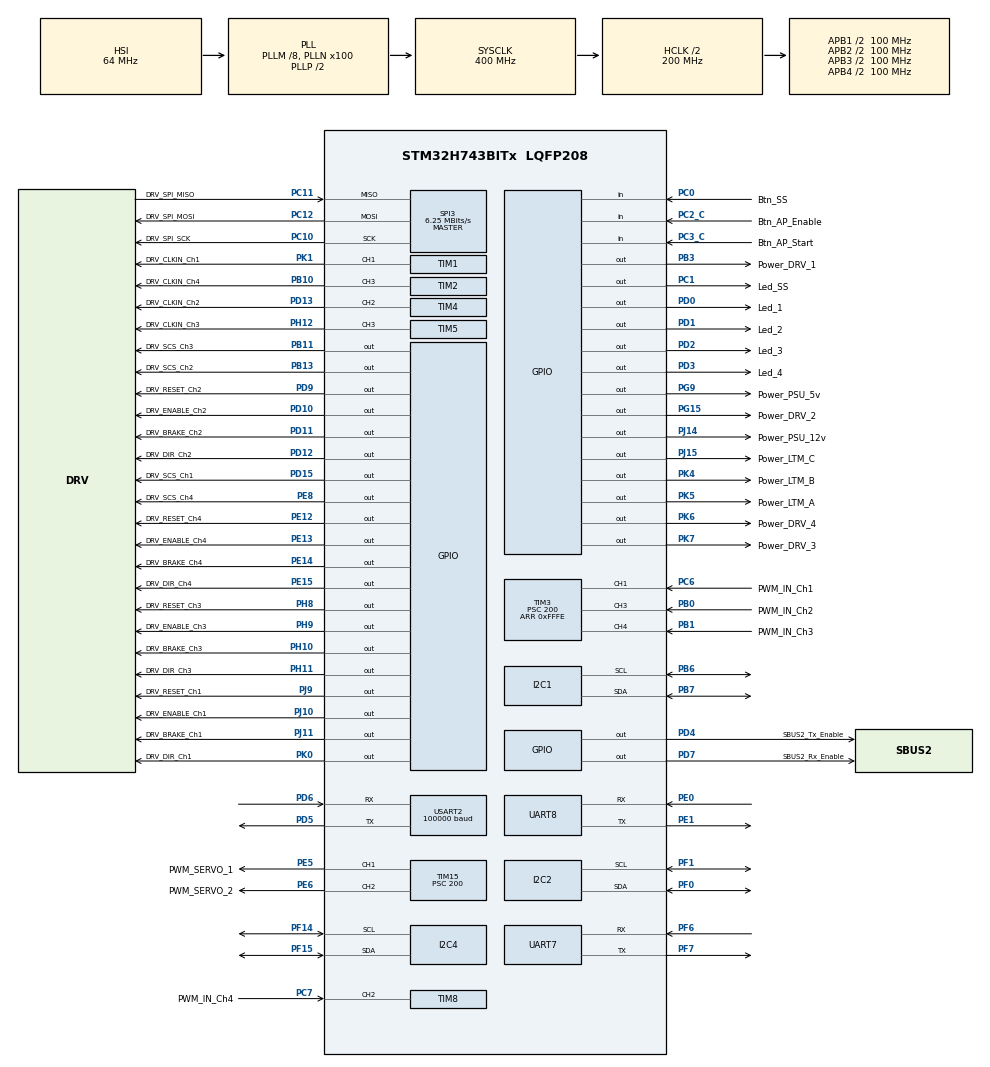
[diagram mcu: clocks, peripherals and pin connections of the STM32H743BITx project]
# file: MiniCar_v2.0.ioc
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FREERTOS.Tasks01=defaultTask,0,128,StartDefaultTask,Default,NULL,Dynamic,NULL,NULL;T1_WheelMove,0,128,StartTask01,As external,NULL,Dynamic,NULL,NULL;T2_Steering,0,128,StartTask02,As external,NULL,Dynamic,NULL,NULL;T3_WheelEncoder,-2,128,StartTask03,As external,NULL,Dynamic,NULL,NULL;T4_WheelTurnEnc,-2,128,StartTask04,As external,NULL,Dynamic,NULL,NULL;T5_PowerSup,0,128,StartTask05,As external,NULL,Dynamic,NULL,NULL;T6_Terminal,-2,128,StartTask06,As external,NULL,Dynamic,NULL,NULL;T7_Logging,-2,128,StartTask07,As external,NULL,Dynamic,NULL,NULL;T8_RemoteCon,2,128,StartTask08,As external,NULL,Dynamic,NULL,NULL;T9_State,2,128,StartTask09,As external,NULL,Dynamic,NULL,NULL;T10_Button,-2,128,StartTask10,As external,NULL,Dynamic,NULL,NULL
I2C1.Timing=0x10C0ECFF
I2C2.Timing=0x10C0ECFF
I2C4.Timing=0x10C0ECFF
Mcu.Family=STM32H7
Mcu.Name=STM32H743BITx
Mcu.Package=LQFP208
NVIC.PriorityGroup=NVIC_PRIORITYGROUP_4
NVIC.TIM17_IRQn=true\:5\:0\:false\:false\:true\:true\:true\:true
NVIC.TIM8_TRG_COM_TIM14_IRQn=true\:5\:0\:false\:false\:true\:true\:true\:true
NVIC.TIM8_UP_TIM13_IRQn=true\:0\:0\:false\:false\:true\:false\:false\:true
NVIC.TimeBase=TIM8_UP_TIM13_IRQn
NVIC.TimeBaseIP=TIM13
NVIC.UART7_IRQn=true\:5\:0\:false\:false\:true\:true\:true\:true
NVIC.UART8_IRQn=true\:5\:0\:false\:false\:true\:true\:true\:true
NVIC.USART2_IRQn=true\:5\:0\:false\:false\:true\:true\:true\:true
PA13\ (JTMS/SWDIO).Mode=Serial_Wire
PA13\ (JTMS/SWDIO).Signal=SYS_JTMS-SWDIO
PA14\ (JTCK/SWCLK).Mode=Serial_Wire
PA14\ (JTCK/SWCLK).Signal=SYS_JTCK-SWCLK
PB0.GPIO_Label=PWM_IN_Ch2
PB0.Signal=S_TIM3_CH3
PB1.GPIO_Label=PWM_IN_Ch3
PB1.Signal=S_TIM3_CH4
PB10.GPIO_Label=DRV_CLKIN_Ch4
PB10.Signal=S_TIM2_CH3
PB11.GPIO_Label=DRV_SCS_Ch3
PB11.Signal=GPIO_Output
PB13.GPIO_Label=DRV_SCS_Ch2
PB13.Signal=GPIO_Output
PB3\ (JTDO/TRACESWO).GPIO_Label=Power_DRV_1
PB3\ (JTDO/TRACESWO).Signal=GPIO_Output
PB6.Mode=I2C
PB6.Signal=I2C1_SCL
PB7.Mode=I2C
PB7.Signal=I2C1_SDA
PC0.GPIO_Label=Btn_SS
PC0.Signal=GPIO_Input
PC1.GPIO_Label=Led_SS
PC1.Signal=GPIO_Output
PC10.GPIO_Label=DRV_SPI_SCK
PC10.Mode=Full_Duplex_Master
PC10.Signal=SPI3_SCK
PC11.GPIO_Label=DRV_SPI_MISO
PC11.Mode=Full_Duplex_Master
PC11.Signal=SPI3_MISO
PC12.GPIO_Label=DRV_SPI_MOSI
PC12.Mode=Full_Duplex_Master
PC12.Signal=SPI3_MOSI
PC2_C.GPIO_Label=Btn_AP_Enable
PC2_C.Signal=GPIO_Input
PC3_C.GPIO_Label=Btn_AP_Start
PC3_C.Signal=GPIO_Input
PC6.GPIO_Label=PWM_IN_Ch1
PC6.Signal=S_TIM3_CH1
PC7.GPIO_Label=PWM_IN_Ch4
PC7.Signal=S_TIM8_CH2
PD0.GPIO_Label=Led_1
PD0.Signal=GPIO_Output
PD1.GPIO_Label=Led_2
PD1.Signal=GPIO_Output
PD10.GPIO_Label=DRV_ENABLE_Ch2
PD10.Signal=GPIO_Output
PD11.GPIO_Label=DRV_BRAKE_Ch2
PD11.Signal=GPIO_Output
PD12.GPIO_Label=DRV_DIR_Ch2
PD12.Signal=GPIO_Output
PD13.GPIO_Label=DRV_CLKIN_Ch2
PD13.Signal=S_TIM4_CH2
PD15.GPIO_Label=DRV_SCS_Ch1
PD15.Signal=GPIO_Output
PD2.GPIO_Label=Led_3
PD2.Signal=GPIO_Output
PD3.GPIO_Label=Led_4
PD3.Signal=GPIO_Output
PD4.GPIO_Label=SBUS2_Tx_Enable
PD4.Signal=GPIO_Output
PD5.Mode=Asynchronous
PD5.Signal=USART2_TX
PD6.Mode=Asynchronous
PD6.Signal=USART2_RX
PD7.GPIO_Label=SBUS2_Rx_Enable
PD7.Signal=GPIO_Output
PD9.GPIO_Label=DRV_RESET_Ch2
PD9.Signal=GPIO_Output
PE0.Mode=Asynchronous
PE0.Signal=UART8_RX
PE1.Mode=Asynchronous
PE1.Signal=UART8_TX
PE12.GPIO_Label=DRV_RESET_Ch4
PE12.Signal=GPIO_Output
PE13.GPIO_Label=DRV_ENABLE_Ch4
PE13.Signal=GPIO_Output
PE14.GPIO_Label=DRV_BRAKE_Ch4
PE14.Signal=GPIO_Output
PE15.GPIO_Label=DRV_DIR_Ch4
PE15.Signal=GPIO_Output
PE5.GPIO_Label=PWM_SERVO_1
PE5.Signal=S_TIM15_CH1
PE6.GPIO_Label=PWM_SERVO_2
PE6.Signal=S_TIM15_CH2
PE8.GPIO_Label=DRV_SCS_Ch4
PE8.Signal=GPIO_Output
PF0.Mode=I2C
PF0.Signal=I2C2_SDA
PF1.Mode=I2C
PF1.Signal=I2C2_SCL
PF14.Mode=I2C
PF14.Signal=I2C4_SCL
PF15.Mode=I2C
PF15.Signal=I2C4_SDA
PF6.Mode=Asynchronous
PF6.Signal=UART7_RX
PF7.Mode=Asynchronous
PF7.Signal=UART7_TX
PG15.GPIO_Label=Power_DRV_2
PG15.Signal=GPIO_Output
PG9.GPIO_Label=Power_PSU_5v
PG9.Signal=GPIO_Output
PH10.GPIO_Label=DRV_BRAKE_Ch3
PH10.Signal=GPIO_Output
PH11.GPIO_Label=DRV_DIR_Ch3
PH11.Signal=GPIO_Output
PH12.GPIO_Label=DRV_CLKIN_Ch3
PH12.Signal=S_TIM5_CH3
PH8.GPIO_Label=DRV_RESET_Ch3
PH8.Signal=GPIO_Output
PH9.GPIO_Label=DRV_ENABLE_Ch3
PH9.Signal=GPIO_Output
PJ10.GPIO_Label=DRV_ENABLE_Ch1
PJ10.Signal=GPIO_Output
PJ11.GPIO_Label=DRV_BRAKE_Ch1
PJ11.Signal=GPIO_Output
PJ14.GPIO_Label=Power_PSU_12v
PJ14.Signal=GPIO_Output
PJ15.GPIO_Label=Power_LTM_C
PJ15.Signal=GPIO_Output
PJ9.GPIO_Label=DRV_RESET_Ch1
PJ9.Signal=GPIO_Output
PK0.GPIO_Label=DRV_DIR_Ch1
PK0.Signal=GPIO_Output
PK1.GPIO_Label=DRV_CLKIN_Ch1
PK1.Signal=S_TIM1_CH1
PK4.GPIO_Label=Power_LTM_B
PK4.Signal=GPIO_Output
PK5.GPIO_Label=Power_LTM_A
PK5.Signal=GPIO_Output
PK6.GPIO_Label=Power_DRV_4
PK6.Signal=GPIO_Output
PK7.GPIO_Label=Power_DRV_3
PK7.Signal=GPIO_Output
ProjectManager.HeapSize=0x200
ProjectManager.StackSize=0x400
ProjectManager.TargetToolchain=MDK-ARM V5
RCC.ADCFreq_Value=129000000
RCC.APB1Freq_Value=100000000
RCC.APB2Freq_Value=100000000
RCC.APB3Freq_Value=100000000
RCC.APB4Freq_Value=100000000
RCC.CortexFreq_Value=400000000
RCC.D1PPRE=RCC_APB3_DIV2
RCC.D2PPRE1=RCC_APB1_DIV2
RCC.D2PPRE2=RCC_APB2_DIV2
RCC.D3PPRE=RCC_APB4_DIV2
RCC.DIVM1=8
RCC.DIVN1=100
RCC.HCLKFreq_Value=200000000
RCC.HPRE=RCC_HCLK_DIV2
RCC.SYSCLKFreq_VALUE=400000000
RCC.SYSCLKSource=RCC_SYSCLKSOURCE_PLLCLK
RCC.USBFreq_Value=400000000
SH.S_TIM15_CH1.0=TIM15_CH1,PWM Generation1 CH1
SH.S_TIM15_CH2.0=TIM15_CH2,PWM Generation2 CH2
SH.S_TIM1_CH1.0=TIM1_CH1,PWM Generation1 CH1
SH.S_TIM2_CH3.0=TIM2_CH3,PWM Generation3 CH3
SH.S_TIM3_CH1.0=TIM3_CH1,TriggerSource_TI1FP1
SH.S_TIM3_CH1.1=TIM3_CH1,Input_Capture1_from_TI1
SH.S_TIM3_CH1.2=TIM3_CH1,Input_Capture2_from_TI1
SH.S_TIM3_CH3.0=TIM3_CH3,Input_Capture3_from_TI3
SH.S_TIM3_CH4.0=TIM3_CH4,Input_Capture4_from_TI4
SH.S_TIM4_CH2.0=TIM4_CH2,PWM Generation2 CH2
SH.S_TIM5_CH3.0=TIM5_CH3,PWM Generation3 CH3
SH.S_TIM8_CH2.0=TIM8_CH2,TriggerSource_TI2FP2
SH.S_TIM8_CH2.1=TIM8_CH2,Input_Capture2_from_TI2
SH.S_TIM8_CH2.2=TIM8_CH2,Input_Capture1_from_TI2
SPI3.BaudRatePrescaler=SPI_BAUDRATEPRESCALER_64
SPI3.CalculateBaudRate=6.25 MBits/s
SPI3.DataSize=SPI_DATASIZE_24BIT
SPI3.Direction=SPI_DIRECTION_2LINES
SPI3.Mode=SPI_MODE_MASTER
SPI3.VirtualType=VM_MASTER
TIM1.Channel-PWM\ Generation1\ CH1=TIM_CHANNEL_1
TIM1.Period=100
TIM1.Prescaler=50
TIM1.Pulse-PWM\ Generation1\ CH1=10
TIM12.Period=0xFFFE
TIM12.Prescaler=49999
TIM14.Period=2599
TIM14.Prescaler=199
TIM15.Channel-PWM\ Generation1\ CH1=TIM_CHANNEL_1
TIM15.Channel-PWM\ Generation2\ CH2=TIM_CHANNEL_2
TIM15.Period=19999
TIM15.Prescaler=200
TIM15.Pulse-PWM\ Generation1\ CH1=1640
TIM15.Pulse-PWM\ Generation2\ CH2=1480
TIM16.Period=0xFFFE
TIM16.Prescaler=49999
TIM17.Period=9999
TIM17.Prescaler=1999
TIM2.Channel-PWM\ Generation3\ CH3=TIM_CHANNEL_3
TIM2.Period=100
TIM2.Prescaler=50
TIM2.Pulse-PWM\ Generation3\ CH3=10
TIM3.Channel-Input_Capture1_from_TI1=TIM_CHANNEL_1
TIM3.Channel-Input_Capture2_from_TI1=TIM_CHANNEL_2
TIM3.Channel-Input_Capture3_from_TI3=TIM_CHANNEL_3
TIM3.Channel-Input_Capture4_from_TI4=TIM_CHANNEL_4
TIM3.ICPolarity_CH2=TIM_INPUTCHANNELPOLARITY_FALLING
TIM3.ICPolarity_CH3=TIM_INPUTCHANNELPOLARITY_FALLING
TIM3.ICPolarity_CH4=TIM_INPUTCHANNELPOLARITY_FALLING
TIM3.Period=0xFFFE
TIM3.Prescaler=200
TIM4.Channel-PWM\ Generation2\ CH2=TIM_CHANNEL_2
TIM4.Period=10
TIM4.Prescaler=50
TIM4.Pulse-PWM\ Generation2\ CH2=10
TIM5.Channel-PWM\ Generation3\ CH3=TIM_CHANNEL_3
TIM5.Period=100
TIM5.Prescaler=50
TIM5.Pulse-PWM\ Generation3\ CH3=10
TIM6.Period=0xFFFE
TIM6.Prescaler=4999
TIM8.Channel-Input_Capture1_from_TI2=TIM_CHANNEL_1
TIM8.Channel-Input_Capture2_from_TI2=TIM_CHANNEL_2
TIM8.ICPolarity_CH1=TIM_INPUTCHANNELPOLARITY_FALLING
TIM8.Period=0xFFFE
TIM8.Prescaler=200
USART2.BaudRate=100000
USART2.Parity=PARITY_EVEN
USART2.StopBits=STOPBITS_2
USART2.VirtualMode-Asynchronous=VM_ASYNC
USART2.WordLength=WORDLENGTH_9B
VP_FREERTOS_VS_CMSIS_V1.Mode=CMSIS_V1
VP_SYS_VS_tim13.Mode=TIM13
VP_TIM12_VS_ClockSourceINT.Mode=Internal
VP_TIM14_VS_ClockSourceINT.Mode=Enable_Timer
VP_TIM15_VS_ClockSourceINT.Mode=Internal
VP_TIM16_VS_ClockSourceINT.Mode=Enable_Timer
VP_TIM17_VS_ClockSourceINT.Mode=Enable_Timer
VP_TIM1_VS_ClockSourceINT.Mode=Internal
VP_TIM3_VS_ClockSourceINT.Mode=Internal
VP_TIM3_VS_ControllerModeReset.Mode=Reset Mode
VP_TIM4_VS_ClockSourceINT.Mode=Internal
VP_TIM5_VS_ClockSourceINT.Mode=Internal
VP_TIM6_VS_ClockSourceINT.Mode=Enable_Timer
VP_TIM8_VS_ClockSourceINT.Mode=Internal
VP_TIM8_VS_ControllerModeReset.Mode=Reset Mode
board=custom

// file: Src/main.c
/* USER CODE BEGIN Header */
/**
  ******************************************************************************
  * @file           : main.c
  * @brief          : Main program body
  ******************************************************************************
  * @attention
  *
  * <h2><center>&copy; Copyright (c) 2021 STMicroelectronics.
  * All rights reserved.</center></h2>
  *
  * This software component is licensed by ST under BSD 3-Clause license,
  * the "License"; You may not use this file except in compliance with the
  * License. You may obtain a copy of the License at:
  *                        opensource.org/licenses/BSD-3-Clause
  *
  ******************************************************************************
  */
/* USER CODE END Header */

#include "main.h"
#include "cmsis_os.h"

/* USER CODE BEGIN Includes */
#include "task_os.h"
#include "system_func.h"
/* USER CODE END Includes */

I2C_HandleTypeDef hi2c1;
I2C_HandleTypeDef hi2c2;
I2C_HandleTypeDef hi2c4;

SPI_HandleTypeDef hspi3;

TIM_HandleTypeDef htim1;
TIM_HandleTypeDef htim2;
TIM_HandleTypeDef htim3;
TIM_HandleTypeDef htim4;
TIM_HandleTypeDef htim5;
TIM_HandleTypeDef htim6;
TIM_HandleTypeDef htim8;
TIM_HandleTypeDef htim12;
TIM_HandleTypeDef htim14;
TIM_HandleTypeDef htim15;
TIM_HandleTypeDef htim16;
TIM_HandleTypeDef htim17;

UART_HandleTypeDef huart7;
UART_HandleTypeDef huart8;
UART_HandleTypeDef huart2;

osThreadId defaultTaskHandle;
osThreadId T1_WheelMoveHandle;
osThreadId T2_SteeringHandle;
osThreadId T3_WheelEncoderHandle;
osThreadId T4_WheelTurnEncHandle;
osThreadId T5_PowerSupHandle;
osThreadId T6_TerminalHandle;
osThreadId T7_LoggingHandle;
osThreadId T8_RemoteConHandle;
osThreadId T9_StateHandle;
osThreadId T10_ButtonHandle;

void SystemClock_Config(void);
static void MX_GPIO_Init(void);
static void MX_TIM2_Init(void);
static void MX_TIM4_Init(void);
static void MX_TIM5_Init(void);
static void MX_TIM6_Init(void);
static void MX_TIM12_Init(void);
static void MX_TIM15_Init(void);
static void MX_TIM16_Init(void);
static void MX_TIM17_Init(void);
static void MX_I2C1_Init(void);
static void MX_I2C2_Init(void);
static void MX_I2C4_Init(void);
static void MX_SPI3_Init(void);
static void MX_TIM1_Init(void);
static void MX_TIM3_Init(void);
static void MX_TIM8_Init(void);
static void MX_UART7_Init(void);
static void MX_UART8_Init(void);
static void MX_USART2_UART_Init(void);
static void MX_TIM14_Init(void);
void StartDefaultTask(void const * argument);
extern void StartTask01(void const * argument);
extern void StartTask02(void const * argument);
extern void StartTask03(void const * argument);
extern void StartTask04(void const * argument);
extern void StartTask05(void const * argument);
extern void StartTask06(void const * argument);
extern void StartTask07(void const * argument);
extern void StartTask08(void const * argument);
extern void StartTask09(void const * argument);
extern void StartTask10(void const * argument);

int main(void)
{

  /* MCU Configuration--------------------------------------------------------*/

  /* Reset of all peripherals, Initializes the Flash interface and the Systick. */
  HAL_Init();

  /* Configure the system clock */
  SystemClock_Config();

  /* Initialize all configured peripherals */
  MX_GPIO_Init();
  MX_TIM2_Init();
  MX_TIM4_Init();
  MX_TIM5_Init();
  MX_TIM6_Init();
  MX_TIM12_Init();
  MX_TIM15_Init();
  MX_TIM16_Init();
  MX_TIM17_Init();
  MX_I2C1_Init();
  MX_I2C2_Init();
  MX_I2C4_Init();
  MX_SPI3_Init();
  MX_TIM1_Init();
  MX_TIM3_Init();
  MX_TIM8_Init();
  MX_UART7_Init();
  MX_UART8_Init();
  MX_USART2_UART_Init();
  MX_TIM14_Init();
  /* USER CODE BEGIN 2 */
	HAL_GPIO_WritePin(Power_DRV_1_GPIO_Port, Power_DRV_1_Pin, GPIO_PIN_SET); 		//DRV_1
	HAL_GPIO_WritePin(Power_DRV_2_GPIO_Port, Power_DRV_2_Pin, GPIO_PIN_SET); 		//DRV_2
	HAL_GPIO_WritePin(Power_DRV_3_GPIO_Port, Power_DRV_3_Pin, GPIO_PIN_SET); 		//DRV_3
	HAL_GPIO_WritePin(Power_DRV_4_GPIO_Port, Power_DRV_4_Pin, GPIO_PIN_SET); 		//DRV_4
	HAL_GPIO_WritePin(Power_LTM_A_GPIO_Port, Power_LTM_A_Pin , GPIO_PIN_SET); 	//LTM_A
	HAL_GPIO_WritePin(Power_LTM_B_GPIO_Port, Power_LTM_B_Pin , GPIO_PIN_SET); 	//LTM_B
	HAL_GPIO_WritePin(Power_LTM_C_GPIO_Port, Power_LTM_C_Pin, GPIO_PIN_SET); 		//LTM_C
	HAL_GPIO_WritePin(Power_PSU_12v_GPIO_Port, Power_PSU_12v_Pin, GPIO_PIN_SET); 	//PSU_12V
	HAL_GPIO_WritePin(Power_PSU_5v_GPIO_Port, Power_PSU_5v_Pin , GPIO_PIN_SET); 	//PSU_5V

	HAL_GPIO_WritePin(Led_1_GPIO_Port, Led_1_Pin , GPIO_PIN_SET); //LED_1

	HAL_TIM_PWM_Start(&htim1, TIM_CHANNEL_1); //Wheel A
	HAL_TIM_PWM_Start(&htim2, TIM_CHANNEL_3); //Wheel D
	HAL_TIM_IC_Start(&htim3, TIM_CHANNEL_1);
	HAL_TIM_IC_Start(&htim3, TIM_CHANNEL_2);
	HAL_TIM_IC_Start(&htim3, TIM_CHANNEL_3);
	HAL_TIM_IC_Start(&htim3, TIM_CHANNEL_4);
	HAL_TIM_PWM_Start(&htim4, TIM_CHANNEL_2); //Wheel B
	HAL_TIM_PWM_Start(&htim5, TIM_CHANNEL_3); //Wheel C
	HAL_TIM_Base_Start(&htim6);
	HAL_TIM_IC_Start(&htim8, TIM_CHANNEL_1);
	HAL_TIM_IC_Start(&htim8, TIM_CHANNEL_2);
	HAL_TIM_Base_Start(&htim12);
	HAL_TIM_PWM_Start(&htim15, TIM_CHANNEL_1); //Servos

	DRV_Init(1); //Channel A
	DRV_Init(2); //Channel B
	DRV_Init(3); //Channel C
	DRV_Init(4); //Channel D

	INA_Init(INA_INPUT, 		0x433F, 0x5000);
	INA_Init(INA_PSU_3V3, 	0x433F, 0x2800);
	INA_Init(INA_PSU_5V0, 	0x433F, 0x2800);
	INA_Init(INA_PSU_8V4A, 	0x433F, 0x2800);
	INA_Init(INA_PSU_8V4B, 	0x433F, 0x2800);
	INA_Init(INA_PSU_5VB, 	0x433F, 0x2800);
	INA_Init(INA_PSU_12V, 	0x433F, 0x2800);

  /* USER CODE END 2 */

  /* Create the thread(s) */
  /* definition and creation of defaultTask */
  osThreadDef(defaultTask, StartDefaultTask, osPriorityNormal, 0, 128);
  defaultTaskHandle = osThreadCreate(osThread(defaultTask), NULL);

  /* definition and creation of T1_WheelMove */
  osThreadDef(T1_WheelMove, StartTask01, osPriorityNormal, 0, 128);
  T1_WheelMoveHandle = osThreadCreate(osThread(T1_WheelMove), NULL);

  /* definition and creation of T2_Steering */
  osThreadDef(T2_Steering, StartTask02, osPriorityNormal, 0, 128);
  T2_SteeringHandle = osThreadCreate(osThread(T2_Steering), NULL);

  /* definition and creation of T3_WheelEncoder */
  osThreadDef(T3_WheelEncoder, StartTask03, osPriorityLow, 0, 128);
  T3_WheelEncoderHandle = osThreadCreate(osThread(T3_WheelEncoder), NULL);

  /* definition and creation of T4_WheelTurnEnc */
  osThreadDef(T4_WheelTurnEnc, StartTask04, osPriorityLow, 0, 128);
  T4_WheelTurnEncHandle = osThreadCreate(osThread(T4_WheelTurnEnc), NULL);

  /* definition and creation of T5_PowerSup */
  osThreadDef(T5_PowerSup, StartTask05, osPriorityNormal, 0, 128);
  T5_PowerSupHandle = osThreadCreate(osThread(T5_PowerSup), NULL);

  /* definition and creation of T6_Terminal */
  osThreadDef(T6_Terminal, StartTask06, osPriorityLow, 0, 128);
  T6_TerminalHandle = osThreadCreate(osThread(T6_Terminal), NULL);

  /* definition and creation of T7_Logging */
  osThreadDef(T7_Logging, StartTask07, osPriorityLow, 0, 128);
  T7_LoggingHandle = osThreadCreate(osThread(T7_Logging), NULL);

  /* definition and creation of T8_RemoteCon */
  osThreadDef(T8_RemoteCon, StartTask08, osPriorityHigh, 0, 128);
  T8_RemoteConHandle = osThreadCreate(osThread(T8_RemoteCon), NULL);

  /* definition and creation of T9_State */
  osThreadDef(T9_State, StartTask09, osPriorityHigh, 0, 128);
  T9_StateHandle = osThreadCreate(osThread(T9_State), NULL);

  /* definition and creation of T10_Button */
  osThreadDef(T10_Button, StartTask10, osPriorityLow, 0, 128);
  T10_ButtonHandle = osThreadCreate(osThread(T10_Button), NULL);

  /* Start scheduler */
  osKernelStart();

  /* We should never get here as control is now taken by the scheduler */

  /* Infinite loop */
  while (1)
  {

  }
}

void SystemClock_Config(void)
{
  RCC_OscInitTypeDef RCC_OscInitStruct = {0};
  RCC_ClkInitTypeDef RCC_ClkInitStruct = {0};
  RCC_PeriphCLKInitTypeDef PeriphClkInitStruct = {0};

  /** Supply configuration update enable
  */
  MODIFY_REG(PWR->CR3, PWR_CR3_SCUEN, 0);
  /** Configure the main internal regulator output voltage
  */
  __HAL_PWR_VOLTAGESCALING_CONFIG(PWR_REGULATOR_VOLTAGE_SCALE1);

  while ((PWR->D3CR & (PWR_D3CR_VOSRDY)) != PWR_D3CR_VOSRDY)
  {

  }
  /** Initializes the CPU, AHB and APB busses clocks
  */
  RCC_OscInitStruct.OscillatorType = RCC_OSCILLATORTYPE_HSI;
  RCC_OscInitStruct.HSIState = RCC_HSI_DIV1;
  RCC_OscInitStruct.HSICalibrationValue = RCC_HSICALIBRATION_DEFAULT;
  RCC_OscInitStruct.PLL.PLLState = RCC_PLL_ON;
  RCC_OscInitStruct.PLL.PLLSource = RCC_PLLSOURCE_HSI;
  RCC_OscInitStruct.PLL.PLLM = 8;
  RCC_OscInitStruct.PLL.PLLN = 100;
  RCC_OscInitStruct.PLL.PLLP = 2;
  RCC_OscInitStruct.PLL.PLLQ = 2;
  RCC_OscInitStruct.PLL.PLLR = 2;
  RCC_OscInitStruct.PLL.PLLRGE = RCC_PLL1VCIRANGE_3;
  RCC_OscInitStruct.PLL.PLLVCOSEL = RCC_PLL1VCOWIDE;
  RCC_OscInitStruct.PLL.PLLFRACN = 0;
  if (HAL_RCC_OscConfig(&RCC_OscInitStruct) != HAL_OK)
  {
    Error_Handler();
  }
  /** Initializes the CPU, AHB and APB busses clocks
  */
  RCC_ClkInitStruct.ClockType = RCC_CLOCKTYPE_HCLK|RCC_CLOCKTYPE_SYSCLK
                              |RCC_CLOCKTYPE_PCLK1|RCC_CLOCKTYPE_PCLK2
                              |RCC_CLOCKTYPE_D3PCLK1|RCC_CLOCKTYPE_D1PCLK1;
  RCC_ClkInitStruct.SYSCLKSource = RCC_SYSCLKSOURCE_PLLCLK;
  RCC_ClkInitStruct.SYSCLKDivider = RCC_SYSCLK_DIV1;
  RCC_ClkInitStruct.AHBCLKDivider = RCC_HCLK_DIV2;
  RCC_ClkInitStruct.APB3CLKDivider = RCC_APB3_DIV2;
  RCC_ClkInitStruct.APB1CLKDivider = RCC_APB1_DIV2;
  RCC_ClkInitStruct.APB2CLKDivider = RCC_APB2_DIV2;
  RCC_ClkInitStruct.APB4CLKDivider = RCC_APB4_DIV2;

  if (HAL_RCC_ClockConfig(&RCC_ClkInitStruct, FLASH_LATENCY_2) != HAL_OK)
  {
    Error_Handler();
  }
  PeriphClkInitStruct.PeriphClockSelection = RCC_PERIPHCLK_USART2|RCC_PERIPHCLK_UART7
                              |RCC_PERIPHCLK_UART8|RCC_PERIPHCLK_SPI3
                              |RCC_PERIPHCLK_I2C2|RCC_PERIPHCLK_I2C1
                              |RCC_PERIPHCLK_I2C4;
  PeriphClkInitStruct.Spi123ClockSelection = RCC_SPI123CLKSOURCE_PLL;
  PeriphClkInitStruct.Usart234578ClockSelection = RCC_USART234578CLKSOURCE_D2PCLK1;
  PeriphClkInitStruct.I2c123ClockSelection = RCC_I2C123CLKSOURCE_D2PCLK1;
  PeriphClkInitStruct.I2c4ClockSelection = RCC_I2C4CLKSOURCE_D3PCLK1;
  if (HAL_RCCEx_PeriphCLKConfig(&PeriphClkInitStruct) != HAL_OK)
  {
    Error_Handler();
  }
}

static void MX_I2C1_Init(void)
{

  hi2c1.Instance = I2C1;
  hi2c1.Init.Timing = 0x10C0ECFF;
  hi2c1.Init.OwnAddress1 = 0;
  hi2c1.Init.AddressingMode = I2C_ADDRESSINGMODE_7BIT;
  hi2c1.Init.DualAddressMode = I2C_DUALADDRESS_DISABLE;
  hi2c1.Init.OwnAddress2 = 0;
  hi2c1.Init.OwnAddress2Masks = I2C_OA2_NOMASK;
  hi2c1.Init.GeneralCallMode = I2C_GENERALCALL_DISABLE;
  hi2c1.Init.NoStretchMode = I2C_NOSTRETCH_DISABLE;
  if (HAL_I2C_Init(&hi2c1) != HAL_OK)
  {
    Error_Handler();
  }
  /** Configure Analogue filter
  */
  if (HAL_I2CEx_ConfigAnalogFilter(&hi2c1, I2C_ANALOGFILTER_ENABLE) != HAL_OK)
  {
    Error_Handler();
  }
  /** Configure Digital filter
  */
  if (HAL_I2CEx_ConfigDigitalFilter(&hi2c1, 0) != HAL_OK)
  {
    Error_Handler();
  }

}

static void MX_I2C2_Init(void)
{

  hi2c2.Instance = I2C2;
  hi2c2.Init.Timing = 0x10C0ECFF;
  hi2c2.Init.OwnAddress1 = 0;
  hi2c2.Init.AddressingMode = I2C_ADDRESSINGMODE_7BIT;
  hi2c2.Init.DualAddressMode = I2C_DUALADDRESS_DISABLE;
  hi2c2.Init.OwnAddress2 = 0;
  hi2c2.Init.OwnAddress2Masks = I2C_OA2_NOMASK;
  hi2c2.Init.GeneralCallMode = I2C_GENERALCALL_DISABLE;
  hi2c2.Init.NoStretchMode = I2C_NOSTRETCH_DISABLE;
  if (HAL_I2C_Init(&hi2c2) != HAL_OK)
  {
    Error_Handler();
  }
  /** Configure Analogue filter
  */
  if (HAL_I2CEx_ConfigAnalogFilter(&hi2c2, I2C_ANALOGFILTER_ENABLE) != HAL_OK)
  {
    Error_Handler();
  }
  /** Configure Digital filter
  */
  if (HAL_I2CEx_ConfigDigitalFilter(&hi2c2, 0) != HAL_OK)
  {
    Error_Handler();
  }

}

static void MX_I2C4_Init(void)
{

  hi2c4.Instance = I2C4;
  hi2c4.Init.Timing = 0x10C0ECFF;
  hi2c4.Init.OwnAddress1 = 0;
  hi2c4.Init.AddressingMode = I2C_ADDRESSINGMODE_7BIT;
  hi2c4.Init.DualAddressMode = I2C_DUALADDRESS_DISABLE;
  hi2c4.Init.OwnAddress2 = 0;
  hi2c4.Init.OwnAddress2Masks = I2C_OA2_NOMASK;
  hi2c4.Init.GeneralCallMode = I2C_GENERALCALL_DISABLE;
  hi2c4.Init.NoStretchMode = I2C_NOSTRETCH_DISABLE;
  if (HAL_I2C_Init(&hi2c4) != HAL_OK)
  {
    Error_Handler();
  }
  /** Configure Analogue filter
  */
  if (HAL_I2CEx_ConfigAnalogFilter(&hi2c4, I2C_ANALOGFILTER_ENABLE) != HAL_OK)
  {
    Error_Handler();
  }
  /** Configure Digital filter
  */
  if (HAL_I2CEx_ConfigDigitalFilter(&hi2c4, 0) != HAL_OK)
  {
    Error_Handler();
  }

}

static void MX_SPI3_Init(void)
{

  /* SPI3 parameter configuration*/
  hspi3.Instance = SPI3;
  hspi3.Init.Mode = SPI_MODE_MASTER;
  hspi3.Init.Direction = SPI_DIRECTION_2LINES;
  hspi3.Init.DataSize = SPI_DATASIZE_24BIT;
  hspi3.Init.CLKPolarity = SPI_POLARITY_LOW;
  hspi3.Init.CLKPhase = SPI_PHASE_1EDGE;
  hspi3.Init.NSS = SPI_NSS_SOFT;
  hspi3.Init.BaudRatePrescaler = SPI_BAUDRATEPRESCALER_64;
  hspi3.Init.FirstBit = SPI_FIRSTBIT_MSB;
  hspi3.Init.TIMode = SPI_TIMODE_DISABLE;
  hspi3.Init.CRCCalculation = SPI_CRCCALCULATION_DISABLE;
  hspi3.Init.CRCPolynomial = 7;
  hspi3.Init.NSSPMode = SPI_NSS_PULSE_ENABLE;
  hspi3.Init.NSSPolarity = SPI_NSS_POLARITY_LOW;
  hspi3.Init.FifoThreshold = SPI_FIFO_THRESHOLD_01DATA;
  hspi3.Init.TxCRCInitializationPattern = SPI_CRC_INITIALIZATION_ALL_ZERO_PATTERN;
  hspi3.Init.RxCRCInitializationPattern = SPI_CRC_INITIALIZATION_ALL_ZERO_PATTERN;
  hspi3.Init.MasterSSIdleness = SPI_MASTER_SS_IDLENESS_00CYCLE;
  hspi3.Init.MasterInterDataIdleness = SPI_MASTER_INTERDATA_IDLENESS_00CYCLE;
  hspi3.Init.MasterReceiverAutoSusp = SPI_MASTER_RX_AUTOSUSP_DISABLE;
  hspi3.Init.MasterKeepIOState = SPI_MASTER_KEEP_IO_STATE_DISABLE;
  hspi3.Init.IOSwap = SPI_IO_SWAP_DISABLE;
  if (HAL_SPI_Init(&hspi3) != HAL_OK)
  {
    Error_Handler();
  }

}

static void MX_TIM1_Init(void)
{

  TIM_ClockConfigTypeDef sClockSourceConfig = {0};
  TIM_MasterConfigTypeDef sMasterConfig = {0};
  TIM_OC_InitTypeDef sConfigOC = {0};
  TIM_BreakDeadTimeConfigTypeDef sBreakDeadTimeConfig = {0};

  htim1.Instance = TIM1;
  htim1.Init.Prescaler = 50;
  htim1.Init.CounterMode = TIM_COUNTERMODE_UP;
  htim1.Init.Period = 100;
  htim1.Init.ClockDivision = TIM_CLOCKDIVISION_DIV1;
  htim1.Init.RepetitionCounter = 0;
  htim1.Init.AutoReloadPreload = TIM_AUTORELOAD_PRELOAD_DISABLE;
  if (HAL_TIM_Base_Init(&htim1) != HAL_OK)
  {
    Error_Handler();
  }
  sClockSourceConfig.ClockSource = TIM_CLOCKSOURCE_INTERNAL;
  if (HAL_TIM_ConfigClockSource(&htim1, &sClockSourceConfig) != HAL_OK)
  {
    Error_Handler();
  }
  if (HAL_TIM_PWM_Init(&htim1) != HAL_OK)
  {
    Error_Handler();
  }
  sMasterConfig.MasterOutputTrigger = TIM_TRGO_RESET;
  sMasterConfig.MasterOutputTrigger2 = TIM_TRGO2_RESET;
  sMasterConfig.MasterSlaveMode = TIM_MASTERSLAVEMODE_DISABLE;
  if (HAL_TIMEx_MasterConfigSynchronization(&htim1, &sMasterConfig) != HAL_OK)
  {
    Error_Handler();
  }
  sConfigOC.OCMode = TIM_OCMODE_PWM1;
  sConfigOC.Pulse = 10;
  sConfigOC.OCPolarity = TIM_OCPOLARITY_HIGH;
  sConfigOC.OCNPolarity = TIM_OCNPOLARITY_HIGH;
  sConfigOC.OCFastMode = TIM_OCFAST_DISABLE;
  sConfigOC.OCIdleState = TIM_OCIDLESTATE_RESET;
  sConfigOC.OCNIdleState = TIM_OCNIDLESTATE_RESET;
  if (HAL_TIM_PWM_ConfigChannel(&htim1, &sConfigOC, TIM_CHANNEL_1) != HAL_OK)
  {
    Error_Handler();
  }
  sBreakDeadTimeConfig.OffStateRunMode = TIM_OSSR_DISABLE;
  sBreakDeadTimeConfig.OffStateIDLEMode = TIM_OSSI_DISABLE;
  sBreakDeadTimeConfig.LockLevel = TIM_LOCKLEVEL_OFF;
  sBreakDeadTimeConfig.DeadTime = 0;
  sBreakDeadTimeConfig.BreakState = TIM_BREAK_DISABLE;
  sBreakDeadTimeConfig.BreakPolarity = TIM_BREAKPOLARITY_HIGH;
  sBreakDeadTimeConfig.BreakFilter = 0;
  sBreakDeadTimeConfig.Break2State = TIM_BREAK2_DISABLE;
  sBreakDeadTimeConfig.Break2Polarity = TIM_BREAK2POLARITY_HIGH;
  sBreakDeadTimeConfig.Break2Filter = 0;
  sBreakDeadTimeConfig.AutomaticOutput = TIM_AUTOMATICOUTPUT_DISABLE;
  if (HAL_TIMEx_ConfigBreakDeadTime(&htim1, &sBreakDeadTimeConfig) != HAL_OK)
  {
    Error_Handler();
  }
  HAL_TIM_MspPostInit(&htim1);

}

static void MX_TIM2_Init(void)
{

  TIM_MasterConfigTypeDef sMasterConfig = {0};
  TIM_OC_InitTypeDef sConfigOC = {0};

  htim2.Instance = TIM2;
  htim2.Init.Prescaler = 50;
  htim2.Init.CounterMode = TIM_COUNTERMODE_UP;
  htim2.Init.Period = 100;
  htim2.Init.ClockDivision = TIM_CLOCKDIVISION_DIV1;
  htim2.Init.AutoReloadPreload = TIM_AUTORELOAD_PRELOAD_DISABLE;
  if (HAL_TIM_PWM_Init(&htim2) != HAL_OK)
  {
    Error_Handler();
  }
  sMasterConfig.MasterOutputTrigger = TIM_TRGO_RESET;
  sMasterConfig.MasterSlaveMode = TIM_MASTERSLAVEMODE_DISABLE;
  if (HAL_TIMEx_MasterConfigSynchronization(&htim2, &sMasterConfig) != HAL_OK)
  {
    Error_Handler();
  }
  sConfigOC.OCMode = TIM_OCMODE_PWM1;
  sConfigOC.Pulse = 10;
  sConfigOC.OCPolarity = TIM_OCPOLARITY_HIGH;
  sConfigOC.OCFastMode = TIM_OCFAST_DISABLE;
  if (HAL_TIM_PWM_ConfigChannel(&htim2, &sConfigOC, TIM_CHANNEL_3) != HAL_OK)
  {
    Error_Handler();
  }
  HAL_TIM_MspPostInit(&htim2);

}

static void MX_TIM3_Init(void)
{

  TIM_ClockConfigTypeDef sClockSourceConfig = {0};
  TIM_SlaveConfigTypeDef sSlaveConfig = {0};
  TIM_MasterConfigTypeDef sMasterConfig = {0};
  TIM_IC_InitTypeDef sConfigIC = {0};

  htim3.Instance = TIM3;
  htim3.Init.Prescaler = 200;
  htim3.Init.CounterMode = TIM_COUNTERMODE_UP;
  htim3.Init.Period = 0xFFFE;
  htim3.Init.ClockDivision = TIM_CLOCKDIVISION_DIV1;
  htim3.Init.AutoReloadPreload = TIM_AUTORELOAD_PRELOAD_DISABLE;
  if (HAL_TIM_Base_Init(&htim3) != HAL_OK)
  {
    Error_Handler();
  }
  sClockSourceConfig.ClockSource = TIM_CLOCKSOURCE_INTERNAL;
  if (HAL_TIM_ConfigClockSource(&htim3, &sClockSourceConfig) != HAL_OK)
  {
    Error_Handler();
  }
  if (HAL_TIM_IC_Init(&htim3) != HAL_OK)
  {
    Error_Handler();
  }
  sSlaveConfig.SlaveMode = TIM_SLAVEMODE_RESET;
  sSlaveConfig.InputTrigger = TIM_TS_TI1FP1;
  sSlaveConfig.TriggerPolarity = TIM_INPUTCHANNELPOLARITY_RISING;
  sSlaveConfig.TriggerFilter = 0;
  if (HAL_TIM_SlaveConfigSynchronization(&htim3, &sSlaveConfig) != HAL_OK)
  {
    Error_Handler();
  }
  sMasterConfig.MasterOutputTrigger = TIM_TRGO_RESET;
  sMasterConfig.MasterSlaveMode = TIM_MASTERSLAVEMODE_DISABLE;
  if (HAL_TIMEx_MasterConfigSynchronization(&htim3, &sMasterConfig) != HAL_OK)
  {
    Error_Handler();
  }
  sConfigIC.ICPolarity = TIM_INPUTCHANNELPOLARITY_RISING;
  sConfigIC.ICSelection = TIM_ICSELECTION_DIRECTTI;
  sConfigIC.ICPrescaler = TIM_ICPSC_DIV1;
  sConfigIC.ICFilter = 0;
  if (HAL_TIM_IC_ConfigChannel(&htim3, &sConfigIC, TIM_CHANNEL_1) != HAL_OK)
  {
    Error_Handler();
  }
  sConfigIC.ICPolarity = TIM_INPUTCHANNELPOLARITY_FALLING;
  sConfigIC.ICSelection = TIM_ICSELECTION_INDIRECTTI;
  if (HAL_TIM_IC_ConfigChannel(&htim3, &sConfigIC, TIM_CHANNEL_2) != HAL_OK)
  {
    Error_Handler();
  }
  sConfigIC.ICSelection = TIM_ICSELECTION_DIRECTTI;
  if (HAL_TIM_IC_ConfigChannel(&htim3, &sConfigIC, TIM_CHANNEL_3) != HAL_OK)
  {
    Error_Handler();
  }
  if (HAL_TIM_IC_ConfigChannel(&htim3, &sConfigIC, TIM_CHANNEL_4) != HAL_OK)
  {
    Error_Handler();
  }

}

static void MX_TIM4_Init(void)
{

  TIM_ClockConfigTypeDef sClockSourceConfig = {0};
  TIM_MasterConfigTypeDef sMasterConfig = {0};
  TIM_OC_InitTypeDef sConfigOC = {0};

  htim4.Instance = TIM4;
  htim4.Init.Prescaler = 50;
  htim4.Init.CounterMode = TIM_COUNTERMODE_UP;
  htim4.Init.Period = 10;
  htim4.Init.ClockDivision = TIM_CLOCKDIVISION_DIV1;
  htim4.Init.AutoReloadPreload = TIM_AUTORELOAD_PRELOAD_DISABLE;
  if (HAL_TIM_Base_Init(&htim4) != HAL_OK)
  {
    Error_Handler();
  }
  sClockSourceConfig.ClockSource = TIM_CLOCKSOURCE_INTERNAL;
  if (HAL_TIM_ConfigClockSource(&htim4, &sClockSourceConfig) != HAL_OK)
  {
    Error_Handler();
  }
  if (HAL_TIM_PWM_Init(&htim4) != HAL_OK)
  {
    Error_Handler();
  }
  sMasterConfig.MasterOutputTrigger = TIM_TRGO_RESET;
  sMasterConfig.MasterSlaveMode = TIM_MASTERSLAVEMODE_DISABLE;
  if (HAL_TIMEx_MasterConfigSynchronization(&htim4, &sMasterConfig) != HAL_OK)
  {
    Error_Handler();
  }
  sConfigOC.OCMode = TIM_OCMODE_PWM1;
  sConfigOC.Pulse = 10;
  sConfigOC.OCPolarity = TIM_OCPOLARITY_HIGH;
  sConfigOC.OCFastMode = TIM_OCFAST_DISABLE;
  if (HAL_TIM_PWM_ConfigChannel(&htim4, &sConfigOC, TIM_CHANNEL_2) != HAL_OK)
  {
    Error_Handler();
  }
  HAL_TIM_MspPostInit(&htim4);

}

static void MX_TIM5_Init(void)
{

  TIM_ClockConfigTypeDef sClockSourceConfig = {0};
  TIM_MasterConfigTypeDef sMasterConfig = {0};
  TIM_OC_InitTypeDef sConfigOC = {0};

  htim5.Instance = TIM5;
  htim5.Init.Prescaler = 50;
  htim5.Init.CounterMode = TIM_COUNTERMODE_UP;
  htim5.Init.Period = 100;
  htim5.Init.ClockDivision = TIM_CLOCKDIVISION_DIV1;
  htim5.Init.AutoReloadPreload = TIM_AUTORELOAD_PRELOAD_DISABLE;
  if (HAL_TIM_Base_Init(&htim5) != HAL_OK)
  {
    Error_Handler();
  }
  sClockSourceConfig.ClockSource = TIM_CLOCKSOURCE_INTERNAL;
  if (HAL_TIM_ConfigClockSource(&htim5, &sClockSourceConfig) != HAL_OK)
  {
    Error_Handler();
  }
  if (HAL_TIM_PWM_Init(&htim5) != HAL_OK)
  {
    Error_Handler();
  }
  sMasterConfig.MasterOutputTrigger = TIM_TRGO_RESET;
  sMasterConfig.MasterSlaveMode = TIM_MASTERSLAVEMODE_DISABLE;
  if (HAL_TIMEx_MasterConfigSynchronization(&htim5, &sMasterConfig) != HAL_OK)
  {
    Error_Handler();
  }
  sConfigOC.OCMode = TIM_OCMODE_PWM1;
  sConfigOC.Pulse = 10;
  sConfigOC.OCPolarity = TIM_OCPOLARITY_HIGH;
  sConfigOC.OCFastMode = TIM_OCFAST_DISABLE;
  if (HAL_TIM_PWM_ConfigChannel(&htim5, &sConfigOC, TIM_CHANNEL_3) != HAL_OK)
  {
    Error_Handler();
  }
  HAL_TIM_MspPostInit(&htim5);

}

static void MX_TIM6_Init(void)
{

  TIM_MasterConfigTypeDef sMasterConfig = {0};

  htim6.Instance = TIM6;
  htim6.Init.Prescaler = 4999;
  htim6.Init.CounterMode = TIM_COUNTERMODE_UP;
  htim6.Init.Period = 0xFFFE;
  htim6.Init.AutoReloadPreload = TIM_AUTORELOAD_PRELOAD_DISABLE;
  if (HAL_TIM_Base_Init(&htim6) != HAL_OK)
  {
    Error_Handler();
  }
  sMasterConfig.MasterOutputTrigger = TIM_TRGO_RESET;
  sMasterConfig.MasterSlaveMode = TIM_MASTERSLAVEMODE_DISABLE;
  if (HAL_TIMEx_MasterConfigSynchronization(&htim6, &sMasterConfig) != HAL_OK)
  {
    Error_Handler();
  }

}

static void MX_TIM8_Init(void)
{

  TIM_ClockConfigTypeDef sClockSourceConfig = {0};
  TIM_SlaveConfigTypeDef sSlaveConfig = {0};
  TIM_MasterConfigTypeDef sMasterConfig = {0};
  TIM_IC_InitTypeDef sConfigIC = {0};

  htim8.Instance = TIM8;
  htim8.Init.Prescaler = 200;
  htim8.Init.CounterMode = TIM_COUNTERMODE_UP;
  htim8.Init.Period = 0xFFFE;
  htim8.Init.ClockDivision = TIM_CLOCKDIVISION_DIV1;
  htim8.Init.RepetitionCounter = 0;
  htim8.Init.AutoReloadPreload = TIM_AUTORELOAD_PRELOAD_DISABLE;
  if (HAL_TIM_Base_Init(&htim8) != HAL_OK)
  {
    Error_Handler();
  }
  sClockSourceConfig.ClockSource = TIM_CLOCKSOURCE_INTERNAL;
  if (HAL_TIM_ConfigClockSource(&htim8, &sClockSourceConfig) != HAL_OK)
  {
    Error_Handler();
  }
  if (HAL_TIM_IC_Init(&htim8) != HAL_OK)
  {
    Error_Handler();
  }
  sSlaveConfig.SlaveMode = TIM_SLAVEMODE_RESET;
  sSlaveConfig.InputTrigger = TIM_TS_TI2FP2;
  sSlaveConfig.TriggerPolarity = TIM_INPUTCHANNELPOLARITY_RISING;
  sSlaveConfig.TriggerFilter = 0;
  if (HAL_TIM_SlaveConfigSynchronization(&htim8, &sSlaveConfig) != HAL_OK)
  {
    Error_Handler();
  }
  sMasterConfig.MasterOutputTrigger = TIM_TRGO_RESET;
  sMasterConfig.MasterOutputTrigger2 = TIM_TRGO2_RESET;
  sMasterConfig.MasterSlaveMode = TIM_MASTERSLAVEMODE_DISABLE;
  if (HAL_TIMEx_MasterConfigSynchronization(&htim8, &sMasterConfig) != HAL_OK)
  {
    Error_Handler();
  }
  sConfigIC.ICPolarity = TIM_INPUTCHANNELPOLARITY_FALLING;
  sConfigIC.ICSelection = TIM_ICSELECTION_INDIRECTTI;
  sConfigIC.ICPrescaler = TIM_ICPSC_DIV1;
  sConfigIC.ICFilter = 0;
  if (HAL_TIM_IC_ConfigChannel(&htim8, &sConfigIC, TIM_CHANNEL_1) != HAL_OK)
  {
    Error_Handler();
  }
  sConfigIC.ICPolarity = TIM_INPUTCHANNELPOLARITY_RISING;
  sConfigIC.ICSelection = TIM_ICSELECTION_DIRECTTI;
  if (HAL_TIM_IC_ConfigChannel(&htim8, &sConfigIC, TIM_CHANNEL_2) != HAL_OK)
  {
    Error_Handler();
  }

}

static void MX_TIM12_Init(void)
{

  TIM_ClockConfigTypeDef sClockSourceConfig = {0};

  htim12.Instance = TIM12;
  htim12.Init.Prescaler = 49999;
  htim12.Init.CounterMode = TIM_COUNTERMODE_UP;
  htim12.Init.Period = 0xFFFE;
  htim12.Init.ClockDivision = TIM_CLOCKDIVISION_DIV1;
  htim12.Init.AutoReloadPreload = TIM_AUTORELOAD_PRELOAD_DISABLE;
  if (HAL_TIM_Base_Init(&htim12) != HAL_OK)
  {
    Error_Handler();
  }
  sClockSourceConfig.ClockSource = TIM_CLOCKSOURCE_INTERNAL;
  if (HAL_TIM_ConfigClockSource(&htim12, &sClockSourceConfig) != HAL_OK)
  {
    Error_Handler();
  }

}

static void MX_TIM14_Init(void)
{

  htim14.Instance = TIM14;
  htim14.Init.Prescaler = 199;
  htim14.Init.CounterMode = TIM_COUNTERMODE_UP;
  htim14.Init.Period = 2599;
  htim14.Init.ClockDivision = TIM_CLOCKDIVISION_DIV1;
  htim14.Init.AutoReloadPreload = TIM_AUTORELOAD_PRELOAD_DISABLE;
  if (HAL_TIM_Base_Init(&htim14) != HAL_OK)
  {
    Error_Handler();
  }

}

static void MX_TIM15_Init(void)
{

  TIM_ClockConfigTypeDef sClockSourceConfig = {0};
  TIM_MasterConfigTypeDef sMasterConfig = {0};
  TIM_OC_InitTypeDef sConfigOC = {0};
  TIM_BreakDeadTimeConfigTypeDef sBreakDeadTimeConfig = {0};

  htim15.Instance = TIM15;
  htim15.Init.Prescaler = 200;
  htim15.Init.CounterMode = TIM_COUNTERMODE_UP;
  htim15.Init.Period = 19999;
  htim15.Init.ClockDivision = TIM_CLOCKDIVISION_DIV1;
  htim15.Init.RepetitionCounter = 0;
  htim15.Init.AutoReloadPreload = TIM_AUTORELOAD_PRELOAD_DISABLE;
  if (HAL_TIM_Base_Init(&htim15) != HAL_OK)
  {
    Error_Handler();
  }
  sClockSourceConfig.ClockSource = TIM_CLOCKSOURCE_INTERNAL;
  if (HAL_TIM_ConfigClockSource(&htim15, &sClockSourceConfig) != HAL_OK)
  {
    Error_Handler();
  }
  if (HAL_TIM_PWM_Init(&htim15) != HAL_OK)
  {
    Error_Handler();
  }
  sMasterConfig.MasterOutputTrigger = TIM_TRGO_RESET;
  sMasterConfig.MasterSlaveMode = TIM_MASTERSLAVEMODE_DISABLE;
  if (HAL_TIMEx_MasterConfigSynchronization(&htim15, &sMasterConfig) != HAL_OK)
  {
    Error_Handler();
  }
  sConfigOC.OCMode = TIM_OCMODE_PWM1;
  sConfigOC.Pulse = 1640;
  sConfigOC.OCPolarity = TIM_OCPOLARITY_HIGH;
  sConfigOC.OCNPolarity = TIM_OCNPOLARITY_HIGH;
  sConfigOC.OCFastMode = TIM_OCFAST_DISABLE;
  sConfigOC.OCIdleState = TIM_OCIDLESTATE_RESET;
  sConfigOC.OCNIdleState = TIM_OCNIDLESTATE_RESET;
  if (HAL_TIM_PWM_ConfigChannel(&htim15, &sConfigOC, TIM_CHANNEL_1) != HAL_OK)
  {
    Error_Handler();
  }
  sConfigOC.Pulse = 1480;
  if (HAL_TIM_PWM_ConfigChannel(&htim15, &sConfigOC, TIM_CHANNEL_2) != HAL_OK)
  {
    Error_Handler();
  }
  sBreakDeadTimeConfig.OffStateRunMode = TIM_OSSR_DISABLE;
  sBreakDeadTimeConfig.OffStateIDLEMode = TIM_OSSI_DISABLE;
  sBreakDeadTimeConfig.LockLevel = TIM_LOCKLEVEL_OFF;
  sBreakDeadTimeConfig.DeadTime = 0;
  sBreakDeadTimeConfig.BreakState = TIM_BREAK_DISABLE;
  sBreakDeadTimeConfig.BreakPolarity = TIM_BREAKPOLARITY_HIGH;
  sBreakDeadTimeConfig.BreakFilter = 0;
  sBreakDeadTimeConfig.AutomaticOutput = TIM_AUTOMATICOUTPUT_DISABLE;
  if (HAL_TIMEx_ConfigBreakDeadTime(&htim15, &sBreakDeadTimeConfig) != HAL_OK)
  {
    Error_Handler();
  }
  HAL_TIM_MspPostInit(&htim15);

}

static void MX_TIM16_Init(void)
{

  htim16.Instance = TIM16;
  htim16.Init.Prescaler = 49999;
  htim16.Init.CounterMode = TIM_COUNTERMODE_UP;
  htim16.Init.Period = 0xFFFE;
  htim16.Init.ClockDivision = TIM_CLOCKDIVISION_DIV1;
  htim16.Init.RepetitionCounter = 0;
  htim16.Init.AutoReloadPreload = TIM_AUTORELOAD_PRELOAD_DISABLE;
  if (HAL_TIM_Base_Init(&htim16) != HAL_OK)
  {
    Error_Handler();
  }

}

static void MX_TIM17_Init(void)
{

  htim17.Instance = TIM17;
  htim17.Init.Prescaler = 1999;
  htim17.Init.CounterMode = TIM_COUNTERMODE_UP;
  htim17.Init.Period = 9999;
  htim17.Init.ClockDivision = TIM_CLOCKDIVISION_DIV1;
  htim17.Init.RepetitionCounter = 0;
  htim17.Init.AutoReloadPreload = TIM_AUTORELOAD_PRELOAD_DISABLE;
  if (HAL_TIM_Base_Init(&htim17) != HAL_OK)
  {
    Error_Handler();
  }

}

static void MX_UART7_Init(void)
{

  huart7.Instance = UART7;
  huart7.Init.BaudRate = 115200;
  huart7.Init.WordLength = UART_WORDLENGTH_8B;
  huart7.Init.StopBits = UART_STOPBITS_1;
  huart7.Init.Parity = UART_PARITY_NONE;
  huart7.Init.Mode = UART_MODE_TX_RX;
  huart7.Init.HwFlowCtl = UART_HWCONTROL_NONE;
  huart7.Init.OverSampling = UART_OVERSAMPLING_16;
  huart7.Init.OneBitSampling = UART_ONE_BIT_SAMPLE_DISABLE;
  huart7.Init.Prescaler = UART_PRESCALER_DIV1;
  huart7.Init.FIFOMode = UART_FIFOMODE_DISABLE;
  huart7.Init.TXFIFOThreshold = UART_TXFIFO_THRESHOLD_1_8;
  huart7.Init.RXFIFOThreshold = UART_RXFIFO_THRESHOLD_1_8;
  huart7.AdvancedInit.AdvFeatureInit = UART_ADVFEATURE_NO_INIT;
  if (HAL_UART_Init(&huart7) != HAL_OK)
  {
    Error_Handler();
  }

}

static void MX_UART8_Init(void)
{

  huart8.Instance = UART8;
  huart8.Init.BaudRate = 115200;
  huart8.Init.WordLength = UART_WORDLENGTH_8B;
  huart8.Init.StopBits = UART_STOPBITS_1;
  huart8.Init.Parity = UART_PARITY_NONE;
  huart8.Init.Mode = UART_MODE_TX_RX;
  huart8.Init.HwFlowCtl = UART_HWCONTROL_NONE;
  huart8.Init.OverSampling = UART_OVERSAMPLING_16;
  huart8.Init.OneBitSampling = UART_ONE_BIT_SAMPLE_DISABLE;
  huart8.Init.Prescaler = UART_PRESCALER_DIV1;
  huart8.Init.FIFOMode = UART_FIFOMODE_DISABLE;
  huart8.Init.TXFIFOThreshold = UART_TXFIFO_THRESHOLD_1_8;
  huart8.Init.RXFIFOThreshold = UART_RXFIFO_THRESHOLD_1_8;
  huart8.AdvancedInit.AdvFeatureInit = UART_ADVFEATURE_NO_INIT;
  if (HAL_UART_Init(&huart8) != HAL_OK)
  {
    Error_Handler();
  }

}

static void MX_USART2_UART_Init(void)
{

  huart2.Instance = USART2;
  huart2.Init.BaudRate = 100000;
  huart2.Init.WordLength = UART_WORDLENGTH_9B;
  huart2.Init.StopBits = UART_STOPBITS_2;
  huart2.Init.Parity = UART_PARITY_EVEN;
  huart2.Init.Mode = UART_MODE_TX_RX;
  huart2.Init.HwFlowCtl = UART_HWCONTROL_NONE;
  huart2.Init.OverSampling = UART_OVERSAMPLING_16;
  huart2.Init.OneBitSampling = UART_ONE_BIT_SAMPLE_DISABLE;
  huart2.Init.Prescaler = UART_PRESCALER_DIV1;
  huart2.Init.FIFOMode = UART_FIFOMODE_DISABLE;
  huart2.Init.TXFIFOThreshold = UART_TXFIFO_THRESHOLD_1_8;
  huart2.Init.RXFIFOThreshold = UART_RXFIFO_THRESHOLD_1_8;
  huart2.AdvancedInit.AdvFeatureInit = UART_ADVFEATURE_NO_INIT;
  if (HAL_UART_Init(&huart2) != HAL_OK)
  {
    Error_Handler();
  }

}

static void MX_GPIO_Init(void)
{
  GPIO_InitTypeDef GPIO_InitStruct = {0};

  /* GPIO Ports Clock Enable */
  __HAL_RCC_GPIOE_CLK_ENABLE();
  __HAL_RCC_GPIOF_CLK_ENABLE();
  __HAL_RCC_GPIOC_CLK_ENABLE();
  __HAL_RCC_GPIOB_CLK_ENABLE();
  __HAL_RCC_GPIOH_CLK_ENABLE();
  __HAL_RCC_GPIOD_CLK_ENABLE();
  __HAL_RCC_GPIOJ_CLK_ENABLE();
  __HAL_RCC_GPIOK_CLK_ENABLE();
  __HAL_RCC_GPIOA_CLK_ENABLE();
  __HAL_RCC_GPIOG_CLK_ENABLE();

  /*Configure GPIO pin Output Level */
  HAL_GPIO_WritePin(Led_SS_GPIO_Port, Led_SS_Pin, GPIO_PIN_RESET);

  /*Configure GPIO pin Output Level */
  HAL_GPIO_WritePin(GPIOE, DRV_SCS_Ch4_Pin|DRV_RESET_Ch4_Pin|DRV_ENABLE_Ch4_Pin|DRV_BRAKE_Ch4_Pin
                          |DRV_DIR_Ch4_Pin, GPIO_PIN_RESET);

  /*Configure GPIO pin Output Level */
  HAL_GPIO_WritePin(GPIOB, DRV_SCS_Ch3_Pin|DRV_SCS_Ch2_Pin|Power_DRV_1_Pin, GPIO_PIN_RESET);

  /*Configure GPIO pin Output Level */
  HAL_GPIO_WritePin(GPIOH, DRV_RESET_Ch3_Pin|DRV_ENABLE_Ch3_Pin|DRV_BRAKE_Ch3_Pin|DRV_DIR_Ch3_Pin, GPIO_PIN_RESET);

  /*Configure GPIO pin Output Level */
  HAL_GPIO_WritePin(GPIOD, DRV_RESET_Ch2_Pin|DRV_ENABLE_Ch2_Pin|DRV_BRAKE_Ch2_Pin|DRV_DIR_Ch2_Pin
                          |DRV_SCS_Ch1_Pin|Led_1_Pin|Led_2_Pin|Led_3_Pin
                          |Led_4_Pin|SBUS2_Tx_Enable_Pin|SBUS2_Rx_Enable_Pin, GPIO_PIN_RESET);

  /*Configure GPIO pin Output Level */
  HAL_GPIO_WritePin(GPIOJ, DRV_RESET_Ch1_Pin|DRV_ENABLE_Ch1_Pin|DRV_BRAKE_Ch1_Pin|Power_PSU_12v_Pin
                          |Power_LTM_C_Pin, GPIO_PIN_RESET);

  /*Configure GPIO pin Output Level */
  HAL_GPIO_WritePin(GPIOK, DRV_DIR_Ch1_Pin|Power_LTM_B_Pin|Power_LTM_A_Pin|Power_DRV_4_Pin
                          |Power_DRV_3_Pin, GPIO_PIN_RESET);

  /*Configure GPIO pin Output Level */
  HAL_GPIO_WritePin(GPIOG, Power_PSU_5v_Pin|Power_DRV_2_Pin, GPIO_PIN_RESET);

  /*Configure GPIO pins : Btn_SS_Pin Btn_AP_Enable_Pin Btn_AP_Start_Pin */
  GPIO_InitStruct.Pin = Btn_SS_Pin|Btn_AP_Enable_Pin|Btn_AP_Start_Pin;
  GPIO_InitStruct.Mode = GPIO_MODE_INPUT;
  GPIO_InitStruct.Pull = GPIO_NOPULL;
  HAL_GPIO_Init(GPIOC, &GPIO_InitStruct);

  /*Configure GPIO pin : Led_SS_Pin */
  GPIO_InitStruct.Pin = Led_SS_Pin;
  GPIO_InitStruct.Mode = GPIO_MODE_OUTPUT_PP;
  GPIO_InitStruct.Pull = GPIO_NOPULL;
  GPIO_InitStruct.Speed = GPIO_SPEED_FREQ_LOW;
  HAL_GPIO_Init(Led_SS_GPIO_Port, &GPIO_InitStruct);

  /*Configure GPIO pins : DRV_SCS_Ch4_Pin DRV_RESET_Ch4_Pin DRV_ENABLE_Ch4_Pin DRV_BRAKE_Ch4_Pin
                           DRV_DIR_Ch4_Pin */
  GPIO_InitStruct.Pin = DRV_SCS_Ch4_Pin|DRV_RESET_Ch4_Pin|DRV_ENABLE_Ch4_Pin|DRV_BRAKE_Ch4_Pin
                          |DRV_DIR_Ch4_Pin;
  GPIO_InitStruct.Mode = GPIO_MODE_OUTPUT_PP;
  GPIO_InitStruct.Pull = GPIO_NOPULL;
  GPIO_InitStruct.Speed = GPIO_SPEED_FREQ_LOW;
  HAL_GPIO_Init(GPIOE, &GPIO_InitStruct);

  /*Configure GPIO pins : DRV_SCS_Ch3_Pin DRV_SCS_Ch2_Pin Power_DRV_1_Pin */
  GPIO_InitStruct.Pin = DRV_SCS_Ch3_Pin|DRV_SCS_Ch2_Pin|Power_DRV_1_Pin;
  GPIO_InitStruct.Mode = GPIO_MODE_OUTPUT_PP;
  GPIO_InitStruct.Pull = GPIO_NOPULL;
  GPIO_InitStruct.Speed = GPIO_SPEED_FREQ_LOW;
  HAL_GPIO_Init(GPIOB, &GPIO_InitStruct);

  /*Configure GPIO pins : DRV_RESET_Ch3_Pin DRV_ENABLE_Ch3_Pin DRV_BRAKE_Ch3_Pin DRV_DIR_Ch3_Pin */
  GPIO_InitStruct.Pin = DRV_RESET_Ch3_Pin|DRV_ENABLE_Ch3_Pin|DRV_BRAKE_Ch3_Pin|DRV_DIR_Ch3_Pin;
  GPIO_InitStruct.Mode = GPIO_MODE_OUTPUT_PP;
  GPIO_InitStruct.Pull = GPIO_NOPULL;
  GPIO_InitStruct.Speed = GPIO_SPEED_FREQ_LOW;
  HAL_GPIO_Init(GPIOH, &GPIO_InitStruct);

  /*Configure GPIO pins : DRV_RESET_Ch2_Pin DRV_ENABLE_Ch2_Pin DRV_BRAKE_Ch2_Pin DRV_DIR_Ch2_Pin
                           DRV_SCS_Ch1_Pin Led_1_Pin Led_2_Pin Led_3_Pin
                           Led_4_Pin SBUS2_Tx_Enable_Pin SBUS2_Rx_Enable_Pin */
  GPIO_InitStruct.Pin = DRV_RESET_Ch2_Pin|DRV_ENABLE_Ch2_Pin|DRV_BRAKE_Ch2_Pin|DRV_DIR_Ch2_Pin
                          |DRV_SCS_Ch1_Pin|Led_1_Pin|Led_2_Pin|Led_3_Pin
                          |Led_4_Pin|SBUS2_Tx_Enable_Pin|SBUS2_Rx_Enable_Pin;
  GPIO_InitStruct.Mode = GPIO_MODE_OUTPUT_PP;
  GPIO_InitStruct.Pull = GPIO_NOPULL;
  GPIO_InitStruct.Speed = GPIO_SPEED_FREQ_LOW;
  HAL_GPIO_Init(GPIOD, &GPIO_InitStruct);

  /*Configure GPIO pins : DRV_RESET_Ch1_Pin DRV_ENABLE_Ch1_Pin DRV_BRAKE_Ch1_Pin Power_PSU_12v_Pin
                           Power_LTM_C_Pin */
  GPIO_InitStruct.Pin = DRV_RESET_Ch1_Pin|DRV_ENABLE_Ch1_Pin|DRV_BRAKE_Ch1_Pin|Power_PSU_12v_Pin
                          |Power_LTM_C_Pin;
  GPIO_InitStruct.Mode = GPIO_MODE_OUTPUT_PP;
  GPIO_InitStruct.Pull = GPIO_NOPULL;
  GPIO_InitStruct.Speed = GPIO_SPEED_FREQ_LOW;
  HAL_GPIO_Init(GPIOJ, &GPIO_InitStruct);

  /*Configure GPIO pins : DRV_DIR_Ch1_Pin Power_LTM_B_Pin Power_LTM_A_Pin Power_DRV_4_Pin
                           Power_DRV_3_Pin */
  GPIO_InitStruct.Pin = DRV_DIR_Ch1_Pin|Power_LTM_B_Pin|Power_LTM_A_Pin|Power_DRV_4_Pin
                          |Power_DRV_3_Pin;
  GPIO_InitStruct.Mode = GPIO_MODE_OUTPUT_PP;
  GPIO_InitStruct.Pull = GPIO_NOPULL;
  GPIO_InitStruct.Speed = GPIO_SPEED_FREQ_LOW;
  HAL_GPIO_Init(GPIOK, &GPIO_InitStruct);

  /*Configure GPIO pins : Power_PSU_5v_Pin Power_DRV_2_Pin */
  GPIO_InitStruct.Pin = Power_PSU_5v_Pin|Power_DRV_2_Pin;
  GPIO_InitStruct.Mode = GPIO_MODE_OUTPUT_PP;
  GPIO_InitStruct.Pull = GPIO_NOPULL;
  GPIO_InitStruct.Speed = GPIO_SPEED_FREQ_LOW;
  HAL_GPIO_Init(GPIOG, &GPIO_InitStruct);

}

void StartDefaultTask(void const * argument)
{

  for(;;)
  {
    osDelay(1);
  }
}

void HAL_TIM_PeriodElapsedCallback(TIM_HandleTypeDef *htim)
{
  if (htim->Instance == TIM13) {
    HAL_IncTick();
  }
}

void Error_Handler(void)
{
}

/************************ (C) COPYRIGHT STMicroelectronics *****END OF FILE****/
